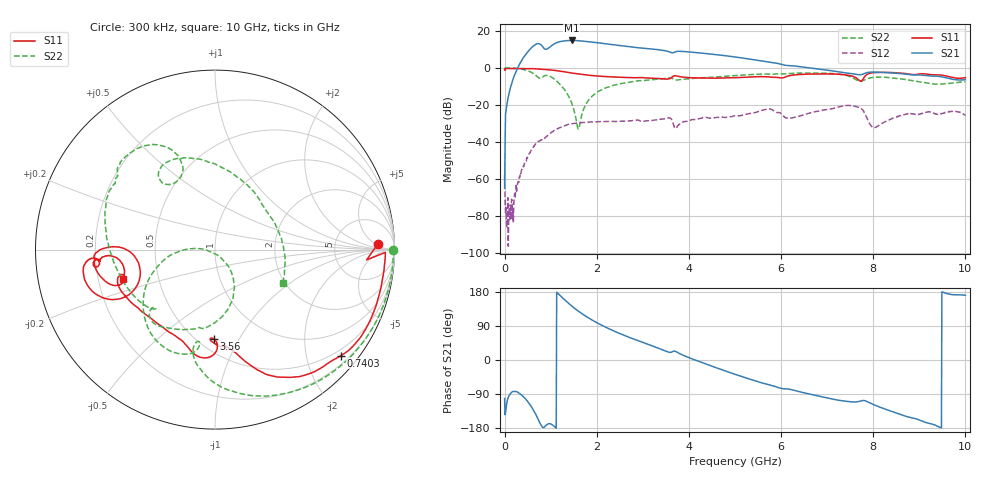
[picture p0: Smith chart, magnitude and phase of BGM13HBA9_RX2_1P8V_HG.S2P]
!Agilent Technologies,E5071C,MY46316587,B.13.01
!Date: Thu Dec 07 13:24:04 2017
!Data & Calibration Information:
!Freq	S11:SOLT2(ON)	S21:SOLT2(ON)	S12:SOLT2(ON)	S22:SOLT2(ON)
!PortZ  Port1:50+j0  Port2:50+j0
!Above PortZ is port z conversion or system Z0 setting when saving the data.
!When reading, reference impedance value at option line is always used.
# Hz S dB R 50
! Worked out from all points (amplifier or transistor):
!   1001 points, 300 kHz to 10 GHz, reference 50 ohm
!   highest |S21| = 14.7 dB at 1.46 GHz (marker M1)
!   |S21| within 3 dB of that: 1.009 GHz to 2.585 GHz (1.576 GHz wide, 87.7 % of centre)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
!   unconditionally stable (mu >= 1): start of sweep to end of sweep
!   at 1.66 GHz: K = 1.68, MAG = 17.2 dB, |S12| = -29.7 dB
!   at 5 GHz: K = 2.01, MAG = 10.1 dB, |S12| = -26.0 dB
!   at 10 GHz: K = 11.93, MAG = -4.1 dB, |S12| = -25.9 dB
!   lowest NFmin = 0.75 dB at 1.8 GHz
!   S11 on the Smith chart (normalised r, x): 300 kHz: 18, +7; 740.3 MHz: 0.36, -2.70; 3.56 GHz: 0.60, -0.79; 10 GHz: 0.31, -0.14
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300000  -0.83 2.0  -65.12 -101.7  -58.13 -50.9  -0.05 -0.0
8.02976e7  -0.45 -4.0  -15.74 -98.3  -96.41 19.9  -0.07 -12.2
4.202874e8  -0.45 -22.0  5.87 -98.3  -53.27 -155.8  -1.02 -64.6
6.102817e8  -0.51 -32.8  11.43 -129.2  -43.36 177.3  -2.96 -93.5
7.402778e8  -0.75 -40.1  12.95 -159.8  -39.73 156.5  -5.46 -101.9
8.202754e8  -0.94 -43.8  11.59 -176.7  -38.85 148.1  -5.17 -99.5
9.102727e8  -1.05 -47.9  9.96 -171.4  -37.12 145.9  -4.19 -113.3
1.070268e9  -1.39 -55.9  12.75 -174.4  -34.04 134.0  -5.99 -142.9
1.250262e9  -2.00 -63.5  14.31 164.8  -31.87 117.6  -10.32 -166.8
1.460256e9  -2.89 -70.1  14.71 142.2  -30.32 100.2  -19.33 176.4
1.590252e9  -3.38 -72.7  14.57 129.8  -29.85 91.8  -32.95 -130.7
1.67025e9  -3.63 -74.0  14.42 122.9  -29.66 87.6  -25.95 -55.7
1.970241e9  -4.41 -77.6  13.60 100.5  -29.26 74.0  -14.00 -58.8
2.400228e9  -5.05 -81.5  12.27 75.0  -29.02 63.7  -9.32 -78.2
2.800216e9  -5.41 -84.8  11.07 55.2  -28.62 58.1  -7.44 -93.9
3.3402e9  -5.85 -92.4  9.69 30.9  -27.96 52.9  -6.19 -115.1
3.560193e9  -6.08 -90.9  8.67 20.6  -27.09 41.6  -5.52 -126.8
4.130176e9  -5.52 -114.3  8.21 0.2  -27.97 57.9  -5.71 -149.3
5.00015e9  -5.41 -141.8  5.77 -37.7  -25.98 53.0  -4.28 171.9
6.6701e9  -3.41 -171.6  -0.28 -91.2  -24.22 42.1  -2.90 132.4
8.34005e9  -2.58 -171.3  -2.73 -133.1  -28.23 28.7  -5.33 109.4
1e10  -5.38 -162.5  -6.46 170.6  -25.85 -51.9  -7.51 -26.0
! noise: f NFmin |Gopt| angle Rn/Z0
1.8e+09  0.7502  0.4622  58.04  0.1798
1.9e+09  0.77  0.4142  62.81  0.1852
2e+09  0.8237  0.3553  64.94  0.1874
2.1e+09  0.8512  0.3433  66.72  0.2077
2.2e+09  0.8729  0.4059  70.77  0.1887
2.3e+09  0.9092  0.4098  74.87  0.1924
2.4e+09  0.9362  0.3946  80.24  0.1943
2.5e+09  0.9577  0.4243  83.73  0.1962
2.6e+09  0.9705  0.4478  83.5  0.1978
2.7e+09  0.9804  0.4653  84.52  0.2092
